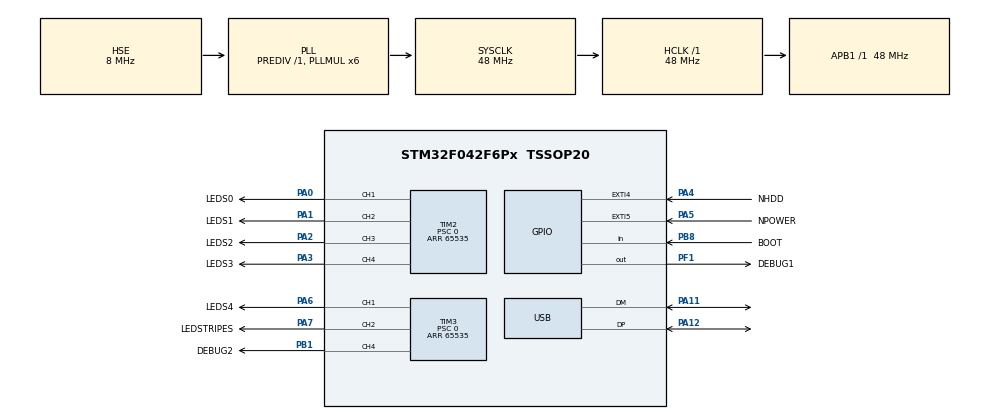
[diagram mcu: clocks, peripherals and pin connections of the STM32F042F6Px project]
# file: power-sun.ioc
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Mcu.Family=STM32F0
Mcu.Name=STM32F042F6Px
Mcu.Package=TSSOP20
NVIC.EXTI4_15_IRQn=true\:0\:0\:false\:false\:true\:true\:true
NVIC.TIM14_IRQn=true\:0\:0\:false\:false\:true\:true\:true
NVIC.USB_IRQn=true\:0\:0\:false\:false\:true\:false\:true
PA0.GPIO_Label=LEDS0
PA0.GPIO_ModeDefaultPP=GPIO_MODE_AF_PP
PA0.Signal=S_TIM2_CH1_ETR
PA1.GPIO_Label=LEDS1
PA1.Signal=S_TIM2_CH2
PA11.Mode=Device
PA11.Signal=USB_DM
PA12.Mode=Device
PA12.Signal=USB_DP
PA13.Mode=Serial_Wire
PA13.Signal=SYS_SWDIO
PA14.Mode=Serial_Wire
PA14.Signal=SYS_SWCLK
PA2.GPIO_Label=LEDS2
PA2.Signal=S_TIM2_CH3
PA3.GPIO_Label=LEDS3
PA3.Signal=S_TIM2_CH4
PA4.GPIO_Label=NHDD
PA4.GPIO_ModeDefaultEXTI=GPIO_MODE_IT_RISING_FALLING
PA4.GPIO_PuPd=GPIO_PULLUP
PA4.Signal=GPXTI4
PA5.GPIO_Label=NPOWER
PA5.GPIO_ModeDefaultEXTI=GPIO_MODE_IT_RISING_FALLING
PA5.GPIO_PuPd=GPIO_PULLUP
PA5.Signal=GPXTI5
PA6.GPIO_Label=LEDS4
PA6.GPIO_ModeDefaultPP=GPIO_MODE_AF_PP
PA6.Signal=S_TIM3_CH1
PA7.GPIO_Label=LEDSTRIPES
PA7.Signal=S_TIM3_CH2
PB1.GPIO_Label=DEBUG2
PB1.Signal=S_TIM3_CH4
PB8.GPIO_Label=BOOT
PB8.Signal=GPIO_Input
PF0-OSC_IN.Mode=HSE-External-Clock-Source
PF0-OSC_IN.Signal=RCC_OSC_IN
PF1-OSC_OUT.GPIO_Label=DEBUG1
PF1-OSC_OUT.Signal=GPIO_Output
ProjectManager.HeapSize=0x200
ProjectManager.StackSize=0x400
ProjectManager.TargetToolchain=STM32CubeIDE
RCC.AHBFreq_Value=48000000
RCC.APB1Freq_Value=48000000
RCC.APB1TimFreq_Value=48000000
RCC.HCLKFreq_Value=48000000
RCC.PLLMUL=RCC_PLL_MUL6
RCC.RTCClockSelection=RCC_RTCCLKSOURCE_HSE_DIV32
RCC.SYSCLKFreq_VALUE=48000000
RCC.SYSCLKSource=RCC_SYSCLKSOURCE_PLLCLK
RCC.USBClockSelection=RCC_USBCLKSOURCE_PLL
SH.S_TIM2_CH1_ETR.0=TIM2_CH1,PWM Generation1 CH1
SH.S_TIM2_CH2.0=TIM2_CH2,PWM Generation2 CH2
SH.S_TIM2_CH3.0=TIM2_CH3,PWM Generation3 CH3
SH.S_TIM2_CH4.0=TIM2_CH4,PWM Generation4 CH4
SH.S_TIM3_CH1.0=TIM3_CH1,PWM Generation1 CH1
SH.S_TIM3_CH2.0=TIM3_CH2,PWM Generation2 CH2
SH.S_TIM3_CH4.0=TIM3_CH4,PWM Generation4 CH4
TIM14.Period=24999
TIM14.Prescaler=59
TIM2.AutoReloadPreload=TIM_AUTORELOAD_PRELOAD_ENABLE
TIM2.Channel-PWM\ Generation1\ CH1=TIM_CHANNEL_1
TIM2.Channel-PWM\ Generation2\ CH2=TIM_CHANNEL_2
TIM2.Channel-PWM\ Generation3\ CH3=TIM_CHANNEL_3
TIM2.Channel-PWM\ Generation4\ CH4=TIM_CHANNEL_4
TIM2.Period=65535
TIM2.Prescaler=0
TIM2.Pulse-PWM\ Generation1\ CH1=0
TIM2.Pulse-PWM\ Generation2\ CH2=0
TIM2.Pulse-PWM\ Generation3\ CH3=0
TIM2.Pulse-PWM\ Generation4\ CH4=0
TIM3.AutoReloadPreload=TIM_AUTORELOAD_PRELOAD_ENABLE
TIM3.Channel-PWM\ Generation1\ CH1=TIM_CHANNEL_1
TIM3.Channel-PWM\ Generation2\ CH2=TIM_CHANNEL_2
TIM3.Channel-PWM\ Generation4\ CH4=TIM_CHANNEL_4
TIM3.Period=65535
TIM3.Prescaler=0
TIM3.Pulse-PWM\ Generation1\ CH1=0
TIM3.Pulse-PWM\ Generation2\ CH2=0
TIM3.Pulse-PWM\ Generation4\ CH4=0
USB_DEVICE.APP_RX_DATA_SIZE=256
USB_DEVICE.APP_TX_DATA_SIZE=256
USB_DEVICE.CLASS_NAME_FS=CDC
USB_DEVICE.USBD_SELF_POWERED=0
USB_DEVICE.VirtualMode=Cdc
USB_DEVICE.VirtualModeFS=Cdc_FS
VP_SYS_VS_PINREMAP.Mode=PINREMAP
VP_TIM14_VS_ClockSourceINT.Mode=Enable_Timer
VP_USB_DEVICE_VS_USB_DEVICE_CDC_FS.Mode=CDC_FS
board=custom

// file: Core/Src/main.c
/* USER CODE BEGIN Header */
/**
  ******************************************************************************
  * @file           : main.c
  * @brief          : Main program body
  ******************************************************************************
  * @attention
  *
  * <h2><center>&copy; Copyright (c) 2021 STMicroelectronics.
  * All rights reserved.</center></h2>
  *
  * This software component is licensed by ST under Ultimate Liberty license
  * SLA0044, the "License"; You may not use this file except in compliance with
  * the License. You may obtain a copy of the License at:
  *                             www.st.com/SLA0044
  *
  ******************************************************************************
  */
/* USER CODE END Header */
#include "main.h"
#include "usb_device.h"

/* USER CODE BEGIN Includes */
#include "usbd_cdc_if.h"
#include "sunimation.h"
/* USER CODE END Includes */

TIM_HandleTypeDef htim2;
TIM_HandleTypeDef htim3;
TIM_HandleTypeDef htim14;

/* USER CODE BEGIN PV */
__IO uint8_t doTick;
__IO GPIO_PinState isOn;
__IO GPIO_PinState isActive;
sunimation_t sunimation;
/* USER CODE END PV */

void SystemClock_Config(void);
static void MX_GPIO_Init(void);
static void MX_TIM2_Init(void);
static void MX_TIM3_Init(void);
static void MX_TIM14_Init(void);
/* USER CODE BEGIN PFP */
void PrintInt(uint32_t value, uint8_t * pbuf, uint32_t length);
/* USER CODE END PFP */

int main(void)
{

  /* MCU Configuration--------------------------------------------------------*/

  /* Reset of all peripherals, Initializes the Flash interface and the Systick. */
  HAL_Init();

  /* Configure the system clock */
  SystemClock_Config();

  /* Initialize all configured peripherals */
  MX_GPIO_Init();
  MX_TIM2_Init();
  MX_TIM3_Init();
  MX_USB_DEVICE_Init();
  MX_TIM14_Init();
  /* USER CODE BEGIN 2 */
  sunimationInit(&sunimation, &TIM2->CCR1, &TIM2->CCR2, &TIM2->CCR3, &TIM2->CCR4, &TIM3->CCR1, &TIM3->CCR2);
  HAL_TIM_PWM_Start(&htim2, TIM_CHANNEL_1);
  HAL_TIM_PWM_Start(&htim2, TIM_CHANNEL_2);
  HAL_TIM_PWM_Start(&htim2, TIM_CHANNEL_3);
  HAL_TIM_PWM_Start(&htim2, TIM_CHANNEL_4);
  HAL_TIM_PWM_Start(&htim3, TIM_CHANNEL_1);
  HAL_TIM_PWM_Start(&htim3, TIM_CHANNEL_2);
  HAL_TIM_PWM_Start(&htim3, TIM_CHANNEL_4);
  HAL_TIM_Base_Start_IT(&htim14);
  isOn = GPIO_PIN_RESET;
  isActive = GPIO_PIN_RESET;
  /* USER CODE END 2 */

  /* Infinite loop */
  /* USER CODE BEGIN WHILE */
//  uint8_t timestamp[] = "00000\r\n";
  while (1)
  {
    HAL_Delay(1);
//    uint32_t start = TIM14->CNT;

    if (doTick)
    {
      doTick = 0;
      sunimationAdvance(&sunimation, isOn, isActive);
    }

    if (MX_USB_DEVICE_IsOpen())
    {
      //TODO handle USB device
    }

//    PrintInt(TIM14->CNT-start, timestamp, 5);
//    CDC_Transmit_FS(timestamp, 7);
    /* USER CODE END WHILE */

  }
}

void SystemClock_Config(void)
{
  RCC_OscInitTypeDef RCC_OscInitStruct = {0};
  RCC_ClkInitTypeDef RCC_ClkInitStruct = {0};
  RCC_PeriphCLKInitTypeDef PeriphClkInit = {0};

  /** Initializes the RCC Oscillators according to the specified parameters
  * in the RCC_OscInitTypeDef structure.
  */
  RCC_OscInitStruct.OscillatorType = RCC_OSCILLATORTYPE_HSE;
  RCC_OscInitStruct.HSEState = RCC_HSE_BYPASS;
  RCC_OscInitStruct.PLL.PLLState = RCC_PLL_ON;
  RCC_OscInitStruct.PLL.PLLSource = RCC_PLLSOURCE_HSE;
  RCC_OscInitStruct.PLL.PLLMUL = RCC_PLL_MUL6;
  RCC_OscInitStruct.PLL.PREDIV = RCC_PREDIV_DIV1;
  if (HAL_RCC_OscConfig(&RCC_OscInitStruct) != HAL_OK)
  {
    Error_Handler();
  }
  /** Initializes the CPU, AHB and APB buses clocks
  */
  RCC_ClkInitStruct.ClockType = RCC_CLOCKTYPE_HCLK|RCC_CLOCKTYPE_SYSCLK
                              |RCC_CLOCKTYPE_PCLK1;
  RCC_ClkInitStruct.SYSCLKSource = RCC_SYSCLKSOURCE_PLLCLK;
  RCC_ClkInitStruct.AHBCLKDivider = RCC_SYSCLK_DIV1;
  RCC_ClkInitStruct.APB1CLKDivider = RCC_HCLK_DIV1;

  if (HAL_RCC_ClockConfig(&RCC_ClkInitStruct, FLASH_LATENCY_1) != HAL_OK)
  {
    Error_Handler();
  }
  PeriphClkInit.PeriphClockSelection = RCC_PERIPHCLK_USB;
  PeriphClkInit.UsbClockSelection = RCC_USBCLKSOURCE_PLL;

  if (HAL_RCCEx_PeriphCLKConfig(&PeriphClkInit) != HAL_OK)
  {
    Error_Handler();
  }
}

static void MX_TIM2_Init(void)
{

  TIM_MasterConfigTypeDef sMasterConfig = {0};
  TIM_OC_InitTypeDef sConfigOC = {0};

  htim2.Instance = TIM2;
  htim2.Init.Prescaler = 0;
  htim2.Init.CounterMode = TIM_COUNTERMODE_UP;
  htim2.Init.Period = 65535;
  htim2.Init.ClockDivision = TIM_CLOCKDIVISION_DIV1;
  htim2.Init.AutoReloadPreload = TIM_AUTORELOAD_PRELOAD_ENABLE;
  if (HAL_TIM_PWM_Init(&htim2) != HAL_OK)
  {
    Error_Handler();
  }
  sMasterConfig.MasterOutputTrigger = TIM_TRGO_RESET;
  sMasterConfig.MasterSlaveMode = TIM_MASTERSLAVEMODE_DISABLE;
  if (HAL_TIMEx_MasterConfigSynchronization(&htim2, &sMasterConfig) != HAL_OK)
  {
    Error_Handler();
  }
  sConfigOC.OCMode = TIM_OCMODE_PWM1;
  sConfigOC.Pulse = 0;
  sConfigOC.OCPolarity = TIM_OCPOLARITY_HIGH;
  sConfigOC.OCFastMode = TIM_OCFAST_DISABLE;
  if (HAL_TIM_PWM_ConfigChannel(&htim2, &sConfigOC, TIM_CHANNEL_1) != HAL_OK)
  {
    Error_Handler();
  }
  if (HAL_TIM_PWM_ConfigChannel(&htim2, &sConfigOC, TIM_CHANNEL_2) != HAL_OK)
  {
    Error_Handler();
  }
  if (HAL_TIM_PWM_ConfigChannel(&htim2, &sConfigOC, TIM_CHANNEL_3) != HAL_OK)
  {
    Error_Handler();
  }
  if (HAL_TIM_PWM_ConfigChannel(&htim2, &sConfigOC, TIM_CHANNEL_4) != HAL_OK)
  {
    Error_Handler();
  }
  HAL_TIM_MspPostInit(&htim2);

}

static void MX_TIM3_Init(void)
{

  TIM_MasterConfigTypeDef sMasterConfig = {0};
  TIM_OC_InitTypeDef sConfigOC = {0};

  htim3.Instance = TIM3;
  htim3.Init.Prescaler = 0;
  htim3.Init.CounterMode = TIM_COUNTERMODE_UP;
  htim3.Init.Period = 65535;
  htim3.Init.ClockDivision = TIM_CLOCKDIVISION_DIV1;
  htim3.Init.AutoReloadPreload = TIM_AUTORELOAD_PRELOAD_ENABLE;
  if (HAL_TIM_PWM_Init(&htim3) != HAL_OK)
  {
    Error_Handler();
  }
  sMasterConfig.MasterOutputTrigger = TIM_TRGO_RESET;
  sMasterConfig.MasterSlaveMode = TIM_MASTERSLAVEMODE_DISABLE;
  if (HAL_TIMEx_MasterConfigSynchronization(&htim3, &sMasterConfig) != HAL_OK)
  {
    Error_Handler();
  }
  sConfigOC.OCMode = TIM_OCMODE_PWM1;
  sConfigOC.Pulse = 0;
  sConfigOC.OCPolarity = TIM_OCPOLARITY_HIGH;
  sConfigOC.OCFastMode = TIM_OCFAST_DISABLE;
  if (HAL_TIM_PWM_ConfigChannel(&htim3, &sConfigOC, TIM_CHANNEL_1) != HAL_OK)
  {
    Error_Handler();
  }
  if (HAL_TIM_PWM_ConfigChannel(&htim3, &sConfigOC, TIM_CHANNEL_2) != HAL_OK)
  {
    Error_Handler();
  }
  if (HAL_TIM_PWM_ConfigChannel(&htim3, &sConfigOC, TIM_CHANNEL_4) != HAL_OK)
  {
    Error_Handler();
  }
  HAL_TIM_MspPostInit(&htim3);

}

static void MX_TIM14_Init(void)
{

  /* USER CODE BEGIN TIM14_Init 1 */

  // Timer 14 provides the time base for the animation (32 Hz)
  // At 48 MHz system clock this is achieved witch a prescaler of 60 and a period of 25000
  /* USER CODE END TIM14_Init 1 */
  htim14.Instance = TIM14;
  htim14.Init.Prescaler = 59;
  htim14.Init.CounterMode = TIM_COUNTERMODE_UP;
  htim14.Init.Period = 24999;
  htim14.Init.ClockDivision = TIM_CLOCKDIVISION_DIV1;
  htim14.Init.AutoReloadPreload = TIM_AUTORELOAD_PRELOAD_DISABLE;
  if (HAL_TIM_Base_Init(&htim14) != HAL_OK)
  {
    Error_Handler();
  }

}

static void MX_GPIO_Init(void)
{
  GPIO_InitTypeDef GPIO_InitStruct = {0};

  /* GPIO Ports Clock Enable */
  __HAL_RCC_GPIOB_CLK_ENABLE();
  __HAL_RCC_GPIOF_CLK_ENABLE();
  __HAL_RCC_GPIOA_CLK_ENABLE();

  /*Configure GPIO pin Output Level */
  HAL_GPIO_WritePin(DEBUG1_GPIO_Port, DEBUG1_Pin, GPIO_PIN_RESET);

  /*Configure GPIO pin : BOOT_Pin */
  GPIO_InitStruct.Pin = BOOT_Pin;
  GPIO_InitStruct.Mode = GPIO_MODE_INPUT;
  GPIO_InitStruct.Pull = GPIO_NOPULL;
  HAL_GPIO_Init(BOOT_GPIO_Port, &GPIO_InitStruct);

  /*Configure GPIO pin : DEBUG1_Pin */
  GPIO_InitStruct.Pin = DEBUG1_Pin;
  GPIO_InitStruct.Mode = GPIO_MODE_OUTPUT_PP;
  GPIO_InitStruct.Pull = GPIO_NOPULL;
  GPIO_InitStruct.Speed = GPIO_SPEED_FREQ_LOW;
  HAL_GPIO_Init(DEBUG1_GPIO_Port, &GPIO_InitStruct);

  /*Configure GPIO pins : NHDD_Pin NPOWER_Pin */
  GPIO_InitStruct.Pin = NHDD_Pin|NPOWER_Pin;
  GPIO_InitStruct.Mode = GPIO_MODE_IT_RISING_FALLING;
  GPIO_InitStruct.Pull = GPIO_PULLUP;
  HAL_GPIO_Init(GPIOA, &GPIO_InitStruct);

  /* EXTI interrupt init*/
  HAL_NVIC_SetPriority(EXTI4_15_IRQn, 0, 0);
  HAL_NVIC_EnableIRQ(EXTI4_15_IRQn);

}

/* USER CODE BEGIN 4 */

void PrintInt(uint32_t value, uint8_t * pbuf, uint32_t length)
{
  uint32_t divisor = 1;
  while(length)
  {
    pbuf[--length] = '0' + (value/divisor)%10;
    divisor *= 10;
  }
}

void setDebugLEDs(uint8_t LED1, uint8_t LED2)
{
  HAL_GPIO_WritePin(DEBUG1_GPIO_Port, DEBUG1_Pin, (LED1 == 1) ? GPIO_PIN_SET : GPIO_PIN_RESET);
  TIM3->CCR4 = gammaDimmed(LED2, 255);
}

void HAL_TIM_PeriodElapsedCallback(TIM_HandleTypeDef *htim)
{
  if (htim == &htim14)
  {
    doTick = 1;
  }
}

void HAL_GPIO_EXTI_Callback(uint16_t GPIO_Pin)
{
  if (GPIO_Pin == NPOWER_Pin)
  {
    isOn = !HAL_GPIO_ReadPin(NPOWER_GPIO_Port, NPOWER_Pin);
  }
  else if (GPIO_Pin == NHDD_Pin)
  {
    isActive = !HAL_GPIO_ReadPin(NHDD_GPIO_Port, NHDD_Pin);
  }
}

/* USER CODE END 4 */

void Error_Handler(void)
{
  __disable_irq();
  while (1)
  {
  }
}

/************************ (C) COPYRIGHT STMicroelectronics *****END OF FILE****/
